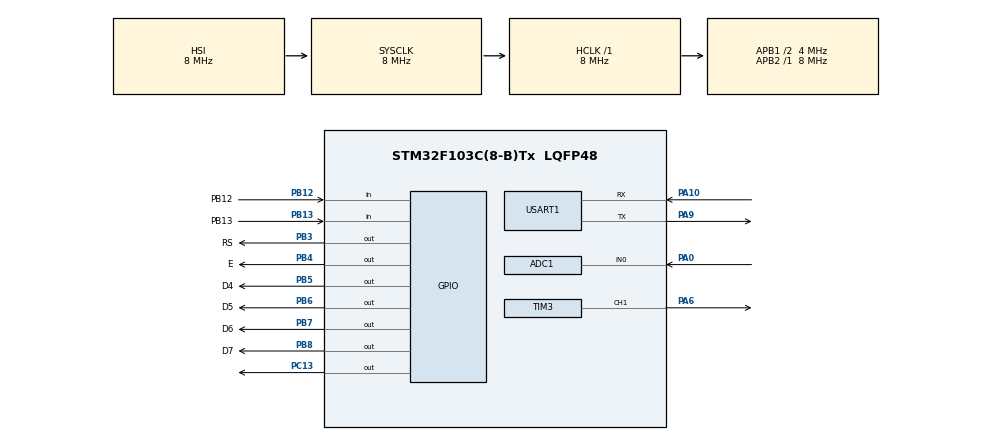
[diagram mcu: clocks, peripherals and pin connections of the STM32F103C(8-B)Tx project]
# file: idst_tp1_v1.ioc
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ADC1.Channel-0\#ChannelRegularConversion=ADC_CHANNEL_0
ADC1.NbrOfConversion=1
ADC1.NbrOfConversionFlag=1
ADC1.Rank-0\#ChannelRegularConversion=1
ADC1.SamplingTime-0\#ChannelRegularConversion=ADC_SAMPLETIME_1CYCLE_5
ADC1.master=1
Dma.ADC1.0.Direction=DMA_PERIPH_TO_MEMORY
Dma.ADC1.0.Instance=DMA1_Channel1
Dma.ADC1.0.MemDataAlignment=DMA_MDATAALIGN_WORD
Dma.ADC1.0.MemInc=DMA_MINC_ENABLE
Dma.ADC1.0.Mode=DMA_CIRCULAR
Dma.ADC1.0.PeriphDataAlignment=DMA_PDATAALIGN_WORD
Dma.ADC1.0.PeriphInc=DMA_PINC_DISABLE
Dma.ADC1.0.Priority=DMA_PRIORITY_LOW
Dma.Request0=ADC1
Mcu.Family=STM32F1
Mcu.Name=STM32F103C(8-B)Tx
Mcu.Package=LQFP48
NVIC.ADC1_2_IRQn=true\:0\:0\:false\:false\:true\:true\:true\:true
NVIC.DMA1_Channel1_IRQn=true\:0\:0\:false\:false\:true\:false\:true\:true
NVIC.PriorityGroup=NVIC_PRIORITYGROUP_4
PA0-WKUP.Signal=ADCx_IN0
PA10.Mode=Asynchronous
PA10.Signal=USART1_RX
PA13.Mode=Serial_Wire
PA13.Signal=SYS_JTMS-SWDIO
PA14.Mode=Serial_Wire
PA14.Signal=SYS_JTCK-SWCLK
PA6.Signal=S_TIM3_CH1
PA9.Mode=Asynchronous
PA9.Signal=USART1_TX
PB12.GPIO_Label=PB12
PB12.GPIO_PuPd=GPIO_PULLUP
PB12.Signal=GPIO_Input
PB13.GPIO_Label=PB13
PB13.GPIO_PuPd=GPIO_PULLUP
PB13.Signal=GPIO_Input
PB3.GPIO_Label=RS
PB3.Signal=GPIO_Output
PB4.GPIO_Label=E
PB4.Signal=GPIO_Output
PB5.GPIO_Label=D4
PB5.Signal=GPIO_Output
PB6.GPIO_Label=D5
PB6.Signal=GPIO_Output
PB7.GPIO_Label=D6
PB7.Signal=GPIO_Output
PB8.GPIO_Label=D7
PB8.Signal=GPIO_Output
PC13-TAMPER-RTC.Signal=GPIO_Output
PD0-OSC_IN.Mode=HSE-External-Oscillator
PD0-OSC_IN.Signal=RCC_OSC_IN
PD1-OSC_OUT.Mode=HSE-External-Oscillator
PD1-OSC_OUT.Signal=RCC_OSC_OUT
ProjectManager.HeapSize=0x200
ProjectManager.StackSize=0x400
ProjectManager.TargetToolchain=STM32CubeIDE
RCC.ADCPresc=RCC_ADCPCLK2_DIV4
RCC.AHBFreq_Value=8000000
RCC.APB1CLKDivider=RCC_HCLK_DIV2
RCC.APB1Freq_Value=4000000
RCC.APB1TimFreq_Value=8000000
RCC.APB2Freq_Value=8000000
RCC.APB2TimFreq_Value=8000000
RCC.HCLKFreq_Value=8000000
RCC.PLLMUL=RCC_PLL_MUL4
RCC.PLLSourceVirtual=RCC_PLLSOURCE_HSE
RCC.SYSCLKFreq_VALUE=8000000
RCC.USBFreq_Value=32000000
SH.ADCx_IN0.0=ADC1_IN0,IN0
SH.S_TIM3_CH1.0=TIM3_CH1,PWM Generation1 CH1
TIM1.Period=1000
TIM1.Prescaler=32
TIM3.Channel-PWM\ Generation1\ CH1=TIM_CHANNEL_1
TIM3.Period=1200
USART1.VirtualMode=VM_ASYNC
VP_TIM1_VS_ClockSourceITR.Mode=TriggerSource_ITR0
VP_TIM1_VS_ControllerModeClock.Mode=Clock Mode
VP_TIM3_VS_ClockSourceINT.Mode=Internal
board=custom

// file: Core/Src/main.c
/* USER CODE BEGIN Header */
/**
  ******************************************************************************
  * @file           : main.c
  * @brief          : Main program body
  ******************************************************************************
  * @attention
  *
  * Copyright (c) 2023 STMicroelectronics.
  * All rights reserved.
  *
  * This software is licensed under terms that can be found in the LICENSE file
  * in the root directory of this software component.
  * If no LICENSE file comes with this software, it is provided AS-IS.
  *
  ******************************************************************************
  */
/* USER CODE END Header */
#include "main.h"

/* USER CODE BEGIN Includes */
#include "string.h"
#include <stdio.h>
#include <stdint.h>
#include "lcd.h"

/* USER CODE END Includes */

/* USER CODE BEGIN PM */
#define LED_HAPPY GPIOC, GPIO_PIN_13
#define SET_POINT 55
#define TIEMPO_MUESTREO 1000 // en milisegundos
#define TIEMPO_MUERTO 400 // tiempo muerto en los pulsadores para evitar el rebote
#define KP_M 45.35158 // constante proporcional
#define KI_M 0.3327 // constante integral

/* USER CODE END PM */

ADC_HandleTypeDef hadc1;
DMA_HandleTypeDef hdma_adc1;

TIM_HandleTypeDef htim1;
TIM_HandleTypeDef htim3;

UART_HandleTypeDef huart1;

/* USER CODE BEGIN PV */
uint8_t uart = 0; //flag para iniciar el envio de datos
uint8_t pulsador = 0; //flag para habilitar los pulsadores

uint16_t timer = 0; //usado en la interrupcion
uint16_t tiempo = 0; // para la salida en uart del numero de muesta
uint16_t timer_muerto = 0; //usado para contar los milisegundos para el tiempo muerto de pulsadores

//! variables para el conversor adc
uint32_t adc_dma;

uint16_t adc_value; // guarda el valor del adc sin procesar
uint16_t adc_value_modificado; //gurda el valor del adc con su equivalencia en mV
uint16_t adc_value_modificado_t; //guarda el valor del adc con su equivalencia en grados celcius

uint8_t set_point; //guarda el valor del set point para modificar su valor
uint16_t pid; // se gurada el valor bruto del pid
uint8_t dataT[50]; //se usa para guardar cadenas para enviar por uart o por el lcd

//! variables para el pid
float kp, ki; //variables para parámetros de controlador PID
float eT, e_iT_0, eT_0; //en grados celsius
float uT = 0; // valor del controlador

/* USER CODE END PV */

void SystemClock_Config(void);
static void MX_GPIO_Init(void);
static void MX_DMA_Init(void);
static void MX_TIM3_Init(void);
static void MX_ADC1_Init(void);
static void MX_TIM1_Init(void);
static void MX_USART1_UART_Init(void);

/* USER CODE BEGIN 0 */
uint16_t Controlador(void);
void EnviarDatos(void);
void IniciarPerifericos(void);
/* USER CODE END 0 */

int main(void)
{

  /* MCU Configuration--------------------------------------------------------*/

  /* Reset of all peripherals, Initializes the Flash interface and the Systick. */
  HAL_Init();

  /* Configure the system clock */
  SystemClock_Config();

  /* Initialize all configured peripherals */
  MX_GPIO_Init();
  MX_DMA_Init();
  MX_TIM3_Init();
  MX_ADC1_Init();
  MX_TIM1_Init();
  MX_USART1_UART_Init();
  /* USER CODE BEGIN 2 */
  set_point = SET_POINT; //en grados celsius

  IniciarPerifericos(); //inicia los perifericos como adc, PWM y el lcd

  //inicio de variables para el PID
  kp = KP_M;
  ki = KI_M;
  eT = 0; // guarda el error actual
  e_iT_0 = 0; // guarda el error integral anterior
  eT_0 = 0; //gurada el error anterior

  /* USER CODE END 2 */

  /* Infinite loop */
  while (1)
  {

    /* USER CODE BEGIN 3 */
	  if ((TIEMPO_MUESTREO/2) < timer) {
		  HAL_GPIO_WritePin(GPIOC, GPIO_PIN_13, 0);
	}else{
		HAL_GPIO_WritePin(GPIOC, GPIO_PIN_13, 1);
	}

	  if (1 == uart) {
		EnviarDatos();
	}
	  if (1 == pulsador) {
		VerificarPulsadores();
	}

  }
  /* USER CODE END 3 */
}

void SystemClock_Config(void)
{
  RCC_OscInitTypeDef RCC_OscInitStruct = {0};
  RCC_ClkInitTypeDef RCC_ClkInitStruct = {0};
  RCC_PeriphCLKInitTypeDef PeriphClkInit = {0};

  /** Initializes the RCC Oscillators according to the specified parameters
  * in the RCC_OscInitTypeDef structure.
  */
  RCC_OscInitStruct.OscillatorType = RCC_OSCILLATORTYPE_HSI;
  RCC_OscInitStruct.HSIState = RCC_HSI_ON;
  RCC_OscInitStruct.HSICalibrationValue = RCC_HSICALIBRATION_DEFAULT;
  RCC_OscInitStruct.PLL.PLLState = RCC_PLL_NONE;
  if (HAL_RCC_OscConfig(&RCC_OscInitStruct) != HAL_OK)
  {
    Error_Handler();
  }

  /** Initializes the CPU, AHB and APB buses clocks
  */
  RCC_ClkInitStruct.ClockType = RCC_CLOCKTYPE_HCLK|RCC_CLOCKTYPE_SYSCLK
                              |RCC_CLOCKTYPE_PCLK1|RCC_CLOCKTYPE_PCLK2;
  RCC_ClkInitStruct.SYSCLKSource = RCC_SYSCLKSOURCE_HSI;
  RCC_ClkInitStruct.AHBCLKDivider = RCC_SYSCLK_DIV1;
  RCC_ClkInitStruct.APB1CLKDivider = RCC_HCLK_DIV2;
  RCC_ClkInitStruct.APB2CLKDivider = RCC_HCLK_DIV1;

  if (HAL_RCC_ClockConfig(&RCC_ClkInitStruct, FLASH_LATENCY_0) != HAL_OK)
  {
    Error_Handler();
  }
  PeriphClkInit.PeriphClockSelection = RCC_PERIPHCLK_ADC;
  PeriphClkInit.AdcClockSelection = RCC_ADCPCLK2_DIV4;
  if (HAL_RCCEx_PeriphCLKConfig(&PeriphClkInit) != HAL_OK)
  {
    Error_Handler();
  }
}

static void MX_ADC1_Init(void)
{

  ADC_ChannelConfTypeDef sConfig = {0};

  /** Common config
  */
  hadc1.Instance = ADC1;
  hadc1.Init.ScanConvMode = ADC_SCAN_DISABLE;
  hadc1.Init.ContinuousConvMode = DISABLE;
  hadc1.Init.DiscontinuousConvMode = DISABLE;
  hadc1.Init.ExternalTrigConv = ADC_SOFTWARE_START;
  hadc1.Init.DataAlign = ADC_DATAALIGN_RIGHT;
  hadc1.Init.NbrOfConversion = 1;
  if (HAL_ADC_Init(&hadc1) != HAL_OK)
  {
    Error_Handler();
  }

  /** Configure Regular Channel
  */
  sConfig.Channel = ADC_CHANNEL_0;
  sConfig.Rank = ADC_REGULAR_RANK_1;
  sConfig.SamplingTime = ADC_SAMPLETIME_1CYCLE_5;
  if (HAL_ADC_ConfigChannel(&hadc1, &sConfig) != HAL_OK)
  {
    Error_Handler();
  }

}

static void MX_TIM1_Init(void)
{

  TIM_SlaveConfigTypeDef sSlaveConfig = {0};
  TIM_MasterConfigTypeDef sMasterConfig = {0};

  htim1.Instance = TIM1;
  htim1.Init.Prescaler = 32;
  htim1.Init.CounterMode = TIM_COUNTERMODE_UP;
  htim1.Init.Period = 1000;
  htim1.Init.ClockDivision = TIM_CLOCKDIVISION_DIV1;
  htim1.Init.RepetitionCounter = 0;
  htim1.Init.AutoReloadPreload = TIM_AUTORELOAD_PRELOAD_DISABLE;
  if (HAL_TIM_Base_Init(&htim1) != HAL_OK)
  {
    Error_Handler();
  }
  sSlaveConfig.SlaveMode = TIM_SLAVEMODE_EXTERNAL1;
  sSlaveConfig.InputTrigger = TIM_TS_ITR0;
  if (HAL_TIM_SlaveConfigSynchro(&htim1, &sSlaveConfig) != HAL_OK)
  {
    Error_Handler();
  }
  sMasterConfig.MasterOutputTrigger = TIM_TRGO_RESET;
  sMasterConfig.MasterSlaveMode = TIM_MASTERSLAVEMODE_DISABLE;
  if (HAL_TIMEx_MasterConfigSynchronization(&htim1, &sMasterConfig) != HAL_OK)
  {
    Error_Handler();
  }

}

static void MX_TIM3_Init(void)
{

  TIM_ClockConfigTypeDef sClockSourceConfig = {0};
  TIM_MasterConfigTypeDef sMasterConfig = {0};
  TIM_OC_InitTypeDef sConfigOC = {0};

  htim3.Instance = TIM3;
  htim3.Init.Prescaler = 0;
  htim3.Init.CounterMode = TIM_COUNTERMODE_UP;
  htim3.Init.Period = 1200;
  htim3.Init.ClockDivision = TIM_CLOCKDIVISION_DIV1;
  htim3.Init.AutoReloadPreload = TIM_AUTORELOAD_PRELOAD_DISABLE;
  if (HAL_TIM_Base_Init(&htim3) != HAL_OK)
  {
    Error_Handler();
  }
  sClockSourceConfig.ClockSource = TIM_CLOCKSOURCE_INTERNAL;
  if (HAL_TIM_ConfigClockSource(&htim3, &sClockSourceConfig) != HAL_OK)
  {
    Error_Handler();
  }
  if (HAL_TIM_PWM_Init(&htim3) != HAL_OK)
  {
    Error_Handler();
  }
  sMasterConfig.MasterOutputTrigger = TIM_TRGO_RESET;
  sMasterConfig.MasterSlaveMode = TIM_MASTERSLAVEMODE_DISABLE;
  if (HAL_TIMEx_MasterConfigSynchronization(&htim3, &sMasterConfig) != HAL_OK)
  {
    Error_Handler();
  }
  sConfigOC.OCMode = TIM_OCMODE_PWM1;
  sConfigOC.Pulse = 0;
  sConfigOC.OCPolarity = TIM_OCPOLARITY_HIGH;
  sConfigOC.OCFastMode = TIM_OCFAST_DISABLE;
  if (HAL_TIM_PWM_ConfigChannel(&htim3, &sConfigOC, TIM_CHANNEL_1) != HAL_OK)
  {
    Error_Handler();
  }
  HAL_TIM_MspPostInit(&htim3);

}

static void MX_USART1_UART_Init(void)
{

  huart1.Instance = USART1;
  huart1.Init.BaudRate = 115200;
  huart1.Init.WordLength = UART_WORDLENGTH_8B;
  huart1.Init.StopBits = UART_STOPBITS_1;
  huart1.Init.Parity = UART_PARITY_NONE;
  huart1.Init.Mode = UART_MODE_TX_RX;
  huart1.Init.HwFlowCtl = UART_HWCONTROL_NONE;
  huart1.Init.OverSampling = UART_OVERSAMPLING_16;
  if (HAL_UART_Init(&huart1) != HAL_OK)
  {
    Error_Handler();
  }

}

static void MX_DMA_Init(void)
{

  /* DMA controller clock enable */
  __HAL_RCC_DMA1_CLK_ENABLE();

  /* DMA interrupt init */
  /* DMA1_Channel1_IRQn interrupt configuration */
  HAL_NVIC_SetPriority(DMA1_Channel1_IRQn, 0, 0);
  HAL_NVIC_EnableIRQ(DMA1_Channel1_IRQn);

}

static void MX_GPIO_Init(void)
{
  GPIO_InitTypeDef GPIO_InitStruct = {0};

  /* GPIO Ports Clock Enable */
  __HAL_RCC_GPIOC_CLK_ENABLE();
  __HAL_RCC_GPIOD_CLK_ENABLE();
  __HAL_RCC_GPIOA_CLK_ENABLE();
  __HAL_RCC_GPIOB_CLK_ENABLE();

  /*Configure GPIO pin Output Level */
  HAL_GPIO_WritePin(GPIOC, GPIO_PIN_13, GPIO_PIN_RESET);

  /*Configure GPIO pin Output Level */
  HAL_GPIO_WritePin(GPIOB, RS_Pin|E_Pin|D4_Pin|D5_Pin
                          |D6_Pin|D7_Pin, GPIO_PIN_RESET);

  /*Configure GPIO pin : PC13 */
  GPIO_InitStruct.Pin = GPIO_PIN_13;
  GPIO_InitStruct.Mode = GPIO_MODE_OUTPUT_PP;
  GPIO_InitStruct.Pull = GPIO_NOPULL;
  GPIO_InitStruct.Speed = GPIO_SPEED_FREQ_LOW;
  HAL_GPIO_Init(GPIOC, &GPIO_InitStruct);

  /*Configure GPIO pins : PB12_Pin PB13_Pin */
  GPIO_InitStruct.Pin = PB12_Pin|PB13_Pin;
  GPIO_InitStruct.Mode = GPIO_MODE_INPUT;
  GPIO_InitStruct.Pull = GPIO_PULLUP;
  HAL_GPIO_Init(GPIOB, &GPIO_InitStruct);

  /*Configure GPIO pins : RS_Pin E_Pin D4_Pin D5_Pin
                           D6_Pin D7_Pin */
  GPIO_InitStruct.Pin = RS_Pin|E_Pin|D4_Pin|D5_Pin
                          |D6_Pin|D7_Pin;
  GPIO_InitStruct.Mode = GPIO_MODE_OUTPUT_PP;
  GPIO_InitStruct.Pull = GPIO_NOPULL;
  GPIO_InitStruct.Speed = GPIO_SPEED_FREQ_LOW;
  HAL_GPIO_Init(GPIOB, &GPIO_InitStruct);

}

/* USER CODE BEGIN 4 */
//! Funcion de interrupcion que se ejecuta cada (1 mS)
void HAL_IncTick(void){
	uwTick += uwTickFreq;

	timer = (timer + 1) % TIEMPO_MUESTREO; //habilita cada TIEMPO_MUESTREO la flag uart
	if (0 == timer) {
		uart = 1;
	}

	timer_muerto = (timer_muerto + 1) % TIEMPO_MUERTO; //habilita cada TIEMPO_MUERTO la flag pulsador
	if (0 == timer_muerto) {
		pulsador = 1;
	}

}

//! Codigo para convercion adc
void HAL_ADC_ConvCpltCallback(ADC_HandleTypeDef * hadc) {
    if (hadc->Instance == ADC1) {
        adc_value = (uint16_t)adc_dma;

    }
}

uint16_t Controlador(void){
	uint16_t final;
	float temperatura = 0;
	float delta_tiempo = 1; // tiempo de muestreo en segundos
	float e_iT = 0;

	// obtiene el valor de latemperatura con punto decimal
	temperatura = (float)adc_value_modificado_t;
	temperatura = temperatura / 100;

	eT = set_point - temperatura; //calcula el error
	eT_0 = eT; //se guarda el error anterior

	e_iT = eT * delta_tiempo + e_iT_0; //Calcular error integrativo i(kT)
	e_iT_0 = e_iT; //se guarda el error integral anterior

	uT = kp * eT + ki * e_iT; // + kd * e_dT; //Calcular senal de control u(kT)

	final = (uint16_t)uT; //permite ver el valor del pid sin recortar

	// limita el valor que controla el pwm que se configuro como maximo 1200
	if (uT > 1200)
		uT = 1200;

	if (uT < 0)
		uT = 0;

	//se actualiza el ciclo de trabajo
	htim3.Instance->CCR1 = (uint32_t)uT;

	// salida que muestra el valor del uT sin limitar
	return final;
}

void EnviarDatos(void){
	uint16_t aux;

	HAL_ADC_Start_IT(&hadc1);
	adc_value_modificado = ((32*adc_value*100)/(4095)+10); //proporciona el valor del voltaje en mV
	adc_value_modificado_t = 100 * (0.03517 * adc_value_modificado - 6.8); // proporciona valor de la temperatura

	pid = Controlador();

	aux = adc_value_modificado_t/100; //se envia la parte decimal
	aux = aux*100;
	aux = adc_value_modificado_t-aux;

	sprintf(dataT, "%u ", htim3.Instance->CCR1/12); // envia el ciclo de trabajo del pwm
	HAL_UART_Transmit(&huart1, dataT, strlen((char*)dataT), HAL_MAX_DELAY);

	sprintf(dataT, "%u ", set_point); //se envia la salida el set point
	HAL_UART_Transmit(&huart1, dataT, strlen((char*)dataT), HAL_MAX_DELAY);
/*
	sprintf(dataT, "%u ", adc_value_modificado_t); //se envia la salida original en temperatura sin punto
	HAL_UART_Transmit(&huart1, dataT, strlen((char*)dataT), HAL_MAX_DELAY);
*/
	if(aux<10){ //envia la temperatura con punto decimal
		sprintf(dataT, "%u.0%u", adc_value_modificado_t/100,aux);
	}else{
		sprintf(dataT, "%u.%u", adc_value_modificado_t/100,aux);
	}
	HAL_UART_Transmit(&huart1, dataT, strlen((char*)dataT), HAL_MAX_DELAY);
	// envia al lcd el mismo valor
	Lcd_Set_Cursor(2,8);
	Lcd_Send_String(dataT);

	sprintf(dataT, " %u", tiempo); //envia el tiempo
	HAL_UART_Transmit(&huart1, dataT, strlen((char*)dataT), HAL_MAX_DELAY);
	tiempo++;

	sprintf(dataT, " %u\r\n", pid); // envia el valor del pid actual
	HAL_UART_Transmit(&huart1, dataT, strlen((char*)dataT), HAL_MAX_DELAY);

	uart = 0;

	return;
}

void IniciarPerifericos(void){
	//inicializacion de pwm
	HAL_TIM_PWM_Start(&htim3, TIM_CHANNEL_1);

	//configuracion de dma
	HAL_ADC_Start_DMA(&hadc1, &adc_dma, 1);

	//inicializacion del adc
	HAL_ADC_Start_IT(&hadc1);

	//Inicia LCD
	Lcd_Init();
	Lcd_Clear();
	Lcd_Set_Cursor(1,1);
	sprintf(dataT, "Set Point = %u C",set_point);
	Lcd_Send_String(dataT);
	Lcd_Set_Cursor(2,1);
	Lcd_Send_String("Temp =       C");
	return;
}

void VerificarPulsadores(void){
	uint16_t aux = set_point;

	//si ambos estan pulsdos reinicia el programa
	if (!HAL_GPIO_ReadPin(GPIOB, GPIO_PIN_12) & !HAL_GPIO_ReadPin(GPIOB, GPIO_PIN_13)) {
		HAL_NVIC_SystemReset();
	}
	// si el pulsador del pin b12 esta pulsado
	if(HAL_GPIO_ReadPin(GPIOB, GPIO_PIN_12)){
		set_point--;
	}
	// si el pulsador del pin b13 esta pulsado
	if(HAL_GPIO_ReadPin(GPIOB, GPIO_PIN_13)){
		set_point++;
	}
	// si el set point cambio se corrige la pantalla y se reinica el tiempo muerto
	if (aux != set_point) {
		Lcd_Set_Cursor(1,13);
		sprintf(dataT,"%u",set_point);
		Lcd_Send_String(dataT);
		pulsador = 0;
	}

	return;
}
/* USER CODE END 4 */

void Error_Handler(void)
{
  __disable_irq();
  while (1)
  {
  }
}
